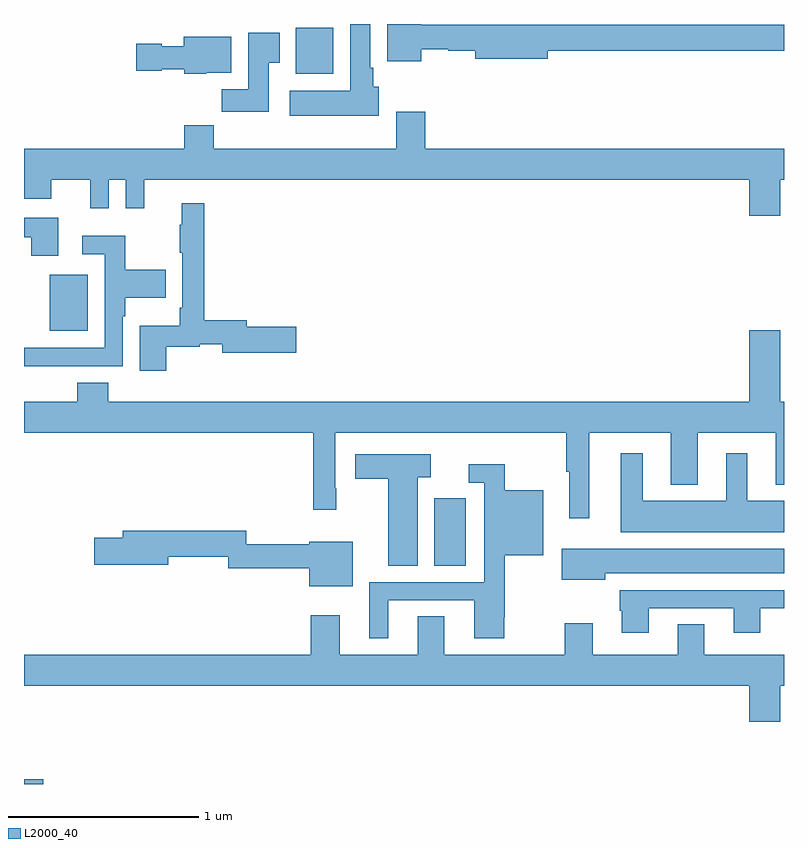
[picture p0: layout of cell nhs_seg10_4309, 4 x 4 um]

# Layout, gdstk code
import gdstk
lib = gdstk.Library(unit=1e-6, precision=1e-09)
def R(c, l, rs):  # rectangles x0, y0, x1, y1
    for r in rs: c.add(gdstk.rectangle(r[:2], r[2:], *l))
def P(c, l, *ps):  # polygons
    for p in ps: c.add(gdstk.Polygon(p, *l))
L2000_40 = (2000, 40)

nhs_seg10_4309 = lib.new_cell('nhs_seg10_4309')
R(nhs_seg10_4309, L2000_40, [(353,1266.5,353.101,1266.525), (355.16,1267.648,355.324,1268.005), (353.135,1268.885,353.335,1269.181), (354.431,1270.238,354.628,1270.48)])
P(nhs_seg10_4309, L2000_40, [(354.868,1270.17),(354.838,1270.17),(354.838,1270.27),(354.823,1270.27),(354.823,1270.5),(354.716,1270.5),(354.716,1270.15),(354.399,1270.15),(354.399,1270.016),(354.868,1270.016)],
  [(355.09,1270.368),(355.233,1270.368),(355.233,1270.36),(355.376,1270.36),(355.376,1270.318),(355.756,1270.318),(355.756,1270.36),(357,1270.36),(357,1270.496),(355.09,1270.496),(355.09,1270.5),(354.911,1270.5),(354.911,1270.304),(355.09,1270.304)],
  [(354.289,1270.297),(354.346,1270.297),(354.346,1270.453),(354.179,1270.453),(354.179,1270.156),(354.04,1270.156),(354.04,1270.038),(354.289,1270.038)],
  [(353.958,1270.244),(354.091,1270.244),(354.091,1270.432),(353.84,1270.432),(353.84,1270.384),(353.724,1270.384),(353.724,1270.397),(353.592,1270.397),(353.592,1270.255),(353.724,1270.255),(353.724,1270.262),(353.844,1270.262),(353.844,1270.238),(353.958,1270.238)],
  [(356.816,1269.492),(356.98,1269.492),(356.98,1269.68),(357,1269.68),(357,1269.844),(355.112,1269.844),(355.112,1270.039),(354.959,1270.039),(354.959,1269.844),(353.999,1269.844),(353.999,1269.968),(353.843,1269.968),(353.843,1269.844),(353,1269.844),(353,1269.581),(353.143,1269.581),(353.143,1269.68),(353.348,1269.68),(353.348,1269.531),(353.445,1269.531),(353.445,1269.68),(353.535,1269.68),(353.535,1269.531),(353.633,1269.531),(353.633,1269.68),(356.816,1269.68)],
  [(353.748,1268.802),(353.925,1268.802),(353.925,1268.814),(354.044,1268.814),(354.044,1268.771),(354.433,1268.771),(354.433,1268.906),(354.172,1268.906),(354.172,1268.942),(353.948,1268.942),(353.948,1269.556),(353.831,1269.556),(353.831,1269.443),(353.82,1269.443),(353.82,1269.295),(353.832,1269.295),(353.832,1269.007),(353.82,1269.007),(353.82,1268.911),(353.609,1268.911),(353.609,1268.676),(353.748,1268.676)],
  [(353.179,1269.481),(353,1269.481),(353,1269.377),(353.039,1269.377),(353.039,1269.279),(353.179,1269.279)],
  [(353.195,1268.7),(353.52,1268.7),(353.52,1268.963),(353.533,1268.963),(353.533,1269.059),(353.747,1269.059),(353.747,1269.207),(353.533,1269.207),(353.533,1269.385),(353.307,1269.385),(353.307,1269.288),(353.424,1269.288),(353.424,1268.796),(353,1268.796),(353,1268.699),(353.195,1268.699)],
  [(355.975,1268.348),(356.405,1268.348),(356.405,1268.075),(356.545,1268.075),(356.545,1268.348),(356.957,1268.348),(356.957,1268.075),(357,1268.075),(357,1268.512),(356.98,1268.512),(356.98,1268.887),(356.816,1268.887),(356.816,1268.512),(353.444,1268.512),(353.444,1268.611),(353.279,1268.611),(353.279,1268.512),(353,1268.512),(353,1268.348),(354.523,1268.348),(354.523,1267.944),(354.644,1267.944),(354.644,1268.056),(354.639,1268.056),(354.639,1268.348),(355.854,1268.348),(355.854,1268.143),(355.871,1268.143),(355.871,1267.899),(355.975,1267.899)],
  [(357,1267.99),(356.806,1267.99),(356.806,1268.242),(356.696,1268.242),(356.696,1267.99),(356.257,1267.99),(356.257,1268.242),(356.141,1268.242),(356.141,1267.826),(357,1267.826)],
  [(355.072,1268.114),(355.141,1268.114),(355.141,1268.236),(354.744,1268.236),(354.744,1268.107),(354.917,1268.107),(354.917,1267.648),(355.072,1267.648)],
  [(354.916,1267.467),(355.37,1267.467),(355.37,1267.266),(355.527,1267.266),(355.527,1267.378),(355.531,1267.378),(355.531,1267.703),(355.732,1267.703),(355.732,1268.047),(355.531,1268.047),(355.531,1268.182),(355.341,1268.182),(355.341,1268.085),(355.422,1268.085),(355.422,1267.563),(354.818,1267.563),(354.818,1267.266),(354.916,1267.266)],
  [(354.73,1267.774),(354.5,1267.774),(354.5,1267.763),(354.171,1267.763),(354.171,1267.832),(353.519,1267.832),(353.519,1267.796),(353.37,1267.796),(353.37,1267.654),(353.758,1267.654),(353.758,1267.696),(354.075,1267.696),(354.075,1267.635),(354.5,1267.635),(354.5,1267.541),(354.73,1267.541)],
  [(356.059,1267.61),(357,1267.61),(357,1267.738),(355.83,1267.738),(355.83,1267.574),(356.059,1267.574)],
  [(356.287,1267.425),(356.735,1267.425),(356.735,1267.296),(356.875,1267.296),(356.875,1267.425),(357,1267.425),(357,1267.521),(356.135,1267.521),(356.135,1267.413),(356.147,1267.413),(356.147,1267.296),(356.287,1267.296)],
  [(356.98,1267.016),(357,1267.016),(357,1267.18),(356.581,1267.18),(356.581,1267.34),(356.441,1267.34),(356.441,1267.18),(355.993,1267.18),(355.993,1267.345),(355.846,1267.345),(355.846,1267.18),(355.213,1267.18),(355.213,1267.382),(355.073,1267.382),(355.073,1267.18),(354.661,1267.18),(354.661,1267.387),(354.509,1267.387),(354.509,1267.18),(353,1267.18),(353,1267.016),(356.816,1267.016),(356.816,1266.828),(356.98,1266.828)])

lib.write_gds('nhs_seg10_4309.gds')
